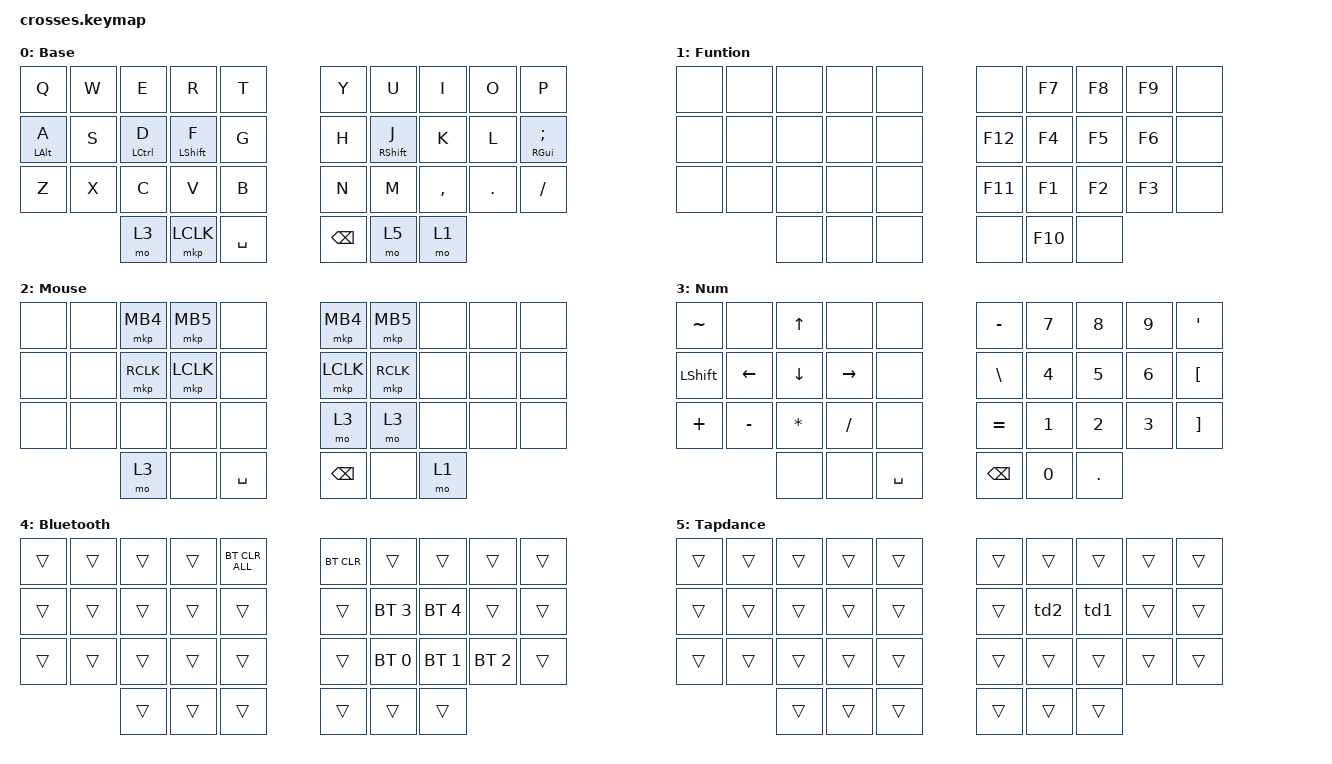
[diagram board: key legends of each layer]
#include <behaviors.dtsi>
#include <dt-bindings/zmk/bt.h>
#include <dt-bindings/zmk/keys.h>
#include <dt-bindings/zmk/pointing.h>

&lt {
    tapping-term-ms = <200>;
    flavor = "balanced";
    quick-tap-ms = <150>;
};

/ {
    combos {
        compatible = "zmk,combos";

        LANGchange_combo {
            bindings = <&kp LANG1>;
            key-positions = <17 18>;
            timeout-ms = <40>;
            require-prior-idle-ms = <120>;
            layers = <0>;
            slow-release;
        };

        ESC_combo {
            bindings = <&kp ESC>;
            key-positions = <0 1>;
            timeout-ms = <40>;
            require-prior-idle-ms = <120>;
            slow-release;
        };

        TAB_combo {
            bindings = <&kp TAB>;
            key-positions = <10 11>;
            timeout-ms = <40>;
            require-prior-idle-ms = <120>;
        };

        ENTER_combo {
            bindings = <&kp ENTER>;
            key-positions = <16 17>;
            timeout-ms = <50>;
            require-prior-idle-ms = <50>;
            slow-release;
        };

        COPY_combo {
            bindings = <&kp LC(C)>;
            key-positions = <12 13>;
            timeout-ms = <50>;
            require-prior-idle-ms = <120>;
            slow-release;
        };

        PASTE_combo {
            bindings = <&kp LC(V)>;
            key-positions = <12 23>;
            timeout-ms = <50>;
            require-prior-idle-ms = <120>;
            slow-release;
        };

        momentary_layer_bluetooth {
            bindings = <&mo 4>;
            key-positions = <20 21 22 23>;
            layers = <0>;
        };

        Capture_combo {
            bindings = <&kp LS(LG(S))>;
            key-positions = <3 2 1>;
            slow-release;
            timeout-ms = <50>;
            require-prior-idle-ms = <120>;
        };

        mouse_right_click {
            bindings = <&mkp MB2>;
            key-positions = <22 23>;
        };

        mouse_button_4 {
            bindings = <&mkp MB4>;
            key-positions = <22 21>;
        };

        DEL_combo {
            bindings = <&kp DELETE>;
            key-positions = <5 6>;
        };

        to_layer_2 {
            bindings = <&to 2>;
            key-positions = <34 33>;
            layers = <0>;
        };

        to_layer_0 {
            bindings = <&to 0>;
            key-positions = <33 34>;
            layers = <2>;
        };

        F2_Combo {
            bindings = <&kp F2>;
            key-positions = <3 4>;
            timeout-ms = <50>;
            require-prior-idle-ms = <120>;
            slow-release;
            layers = <0>;
        };
    };

    macros {
        PW1: PW1 {
            compatible = "zmk,behavior-macro";
            #binding-cells = <0>;
            bindings = <&kp NUMBER_2 &kp NUMBER_0 &kp NUMBER_2 &kp NUMBER_2 &kp NUMBER_0 &kp NUMBER_9 &kp NUMBER_0 &kp NUMBER_1 &kp Q &kp EXCLAMATION &kp AT_SIGN &kp HASH>;
            label = "PW1";
        };

        PW2: PW2 {
            compatible = "zmk,behavior-macro";
            #binding-cells = <0>;
            bindings = <&kp NUMBER_0 &kp T &kp NUMBER_0 &kp L &kp E &kp R &kp AT_SIGN &kp N &kp C &kp E>;
            label = "PW2";
        };

        PW3: PW3 {
            compatible = "zmk,behavior-macro";
            #binding-cells = <0>;
            bindings = <&kp AT_SIGN &kp E &kp L &kp V &kp H &kp X &kp K &kp D &kp L &kp A>;
            label = "PW3";
        };

        domain: domain {
            compatible = "zmk,behavior-macro";
            #binding-cells = <0>;
            bindings = <&kp O &kp F &kp F &kp I &kp C &kp E &kp D &kp E &kp P &kp O &kp T &kp DOT &kp C &kp O &kp DOT &kp K &kp R>;
            label = "DOMAIN";
        };
    };

    behaviors {
        hr: homerow {
            compatible = "zmk,behavior-hold-tap";
            label = "HOMEROW";
            bindings = <&kp>, <&kp>;

            #binding-cells = <2>;
            tapping-term-ms = <180>;
            quick-tap-ms = <130>;
            flavor = "tap-preferred";
            require-prior-idle-ms = <0>;
        };

        ht: holdtap {
            compatible = "zmk,behavior-hold-tap";
            label = "HOLDTAP";
            bindings = <&kp>, <&kp>;

            #binding-cells = <2>;
            tapping-term-ms = <130>;
            quick-tap-ms = <100>;
            flavor = "balanced";
            require-prior-idle-ms = <0>;
        };

        td1: tapdance1 {
            compatible = "zmk,behavior-tap-dance";
            label = "TAPDANCE1";
            #binding-cells = <0>;
            bindings = <&PW1>, <&PW2>, <&PW3>;

            tapping-term-ms = <300>;
        };

        td2: tapdance2 {
            compatible = "zmk,behavior-tap-dance";
            label = "TAPDANCE2";
            #binding-cells = <0>;
            bindings = <&domain>;
            tapping-term-ms = <300>;
        };
    };

    keymap {
        compatible = "zmk,keymap";

        Base {
            bindings = <
&kp Q           &kp W  &kp E               &kp R             &kp T        &kp Y          &kp U              &kp I      &kp O    &kp P
&hr LEFT_ALT A  &kp S  &hr LEFT_CONTROL D  &hr LEFT_SHIFT F  &kp G        &kp H          &hr RIGHT_SHIFT J  &kp K      &kp L    &hr RIGHT_GUI SEMICOLON
&kp Z           &kp X  &kp C               &kp V             &kp B        &kp N          &kp M              &kp COMMA  &kp DOT  &kp SLASH
                       &mo 3               &mkp LCLK         &kp SPACE    &kp BACKSPACE  &mo 5              &mo 1
            >;
        };

        Funtion {
            bindings = <
&none  &none  &none  &none  &none    &none    &kp F7   &kp F8  &kp F9  &none
&none  &none  &none  &none  &none    &kp F12  &kp F4   &kp F5  &kp F6  &none
&none  &none  &none  &none  &none    &kp F11  &kp F1   &kp F2  &kp F3  &none
              &none  &none  &none    &none    &kp F10  &none
            >;
        };

        Mouse {
            bindings = <
&none  &none  &mkp MB4   &mkp MB5   &none        &mkp MB4       &mkp MB5   &none  &none  &none
&none  &none  &mkp RCLK  &mkp LCLK  &none        &mkp LCLK      &mkp RCLK  &none  &none  &none
&none  &none  &none      &none      &none        &mo 3          &mo 3      &none  &none  &none
              &mo 3      &none      &kp SPACE    &kp BACKSPACE  &none      &mo 1
            >;
        };

        Num {
            bindings = <
&kp TILDE       &none           &kp UP_ARROW    &none            &none        &kp MINUS      &kp NUMBER_7  &kp NUMBER_8  &kp NUMBER_9  &kp SINGLE_QUOTE
&kp LEFT_SHIFT  &kp LEFT_ARROW  &kp DOWN_ARROW  &kp RIGHT_ARROW  &none        &kp BACKSLASH  &kp NUMBER_4  &kp NUMBER_5  &kp NUMBER_6  &kp LEFT_BRACKET
&kp PLUS        &kp MINUS       &kp ASTERISK    &kp SLASH        &none        &kp EQUAL      &kp NUMBER_1  &kp NUMBER_2  &kp NUMBER_3  &kp RIGHT_BRACKET
                                &none           &none            &kp SPACE    &kp BACKSPACE  &kp NUMBER_0  &kp DOT
            >;
        };

        Bluetooth {
            bindings = <
&trans  &trans  &trans  &trans  &bt BT_CLR_ALL    &bt BT_CLR  &trans        &trans        &trans        &trans
&trans  &trans  &trans  &trans  &trans            &trans      &bt BT_SEL 3  &bt BT_SEL 4  &trans        &trans
&trans  &trans  &trans  &trans  &trans            &trans      &bt BT_SEL 0  &bt BT_SEL 1  &bt BT_SEL 2  &trans
                &trans  &trans  &trans            &trans      &trans        &trans
            >;
        };

        Tapdance {
            bindings = <
&trans  &trans  &trans  &trans  &trans    &trans  &trans  &trans  &trans  &trans
&trans  &trans  &trans  &trans  &trans    &trans  &td2    &td1    &trans  &trans
&trans  &trans  &trans  &trans  &trans    &trans  &trans  &trans  &trans  &trans
                &trans  &trans  &trans    &trans  &trans  &trans
            >;
        };
    };

    conditional_layers { compatible = "zmk,conditional-layers"; };
};
